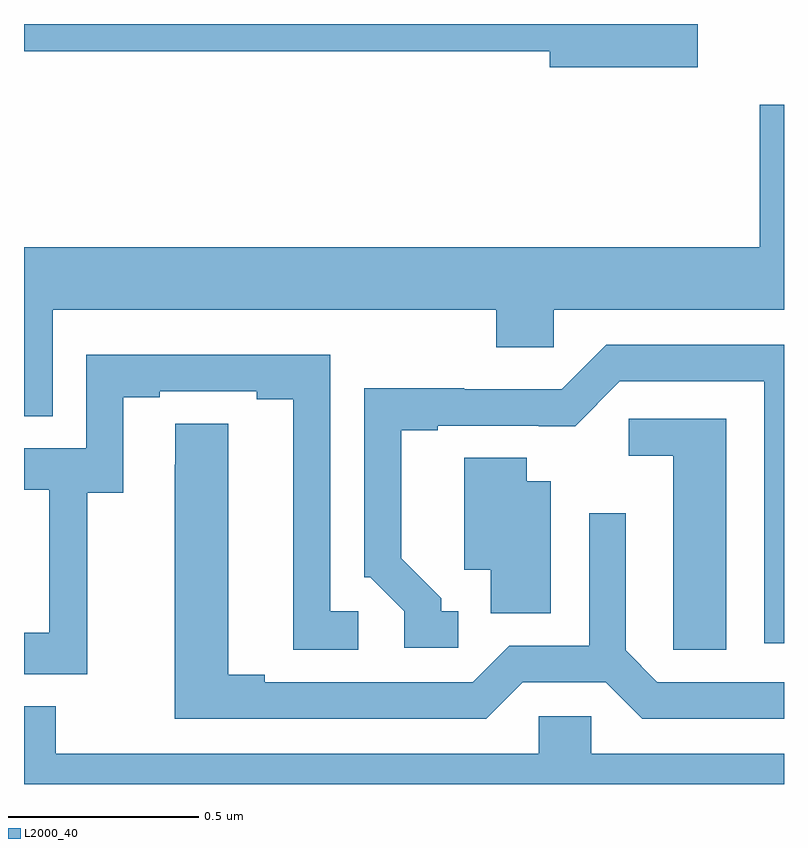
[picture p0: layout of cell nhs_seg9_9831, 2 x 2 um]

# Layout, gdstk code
import gdstk
lib = gdstk.Library(unit=1e-6, precision=1e-09)
def P(c, l, *ps):  # polygons
    for p in ps: c.add(gdstk.Polygon(p, *l))
L2000_40 = (2000, 40)

nhs_seg9_9831 = lib.new_cell('nhs_seg9_9831')
P(nhs_seg9_9831, L2000_40, [(236.773,1202.5),(235,1202.5),(235,1202.428),(236.384,1202.428),(236.384,1202.386),(236.773,1202.386)],
  [(235.075,1201.748),(236.243,1201.748),(236.243,1201.65),(236.394,1201.65),(236.394,1201.748),(237,1201.748),(237,1202.287),(236.936,1202.287),(236.936,1201.912),(235,1201.912),(235,1201.468),(235.075,1201.468)],
  [(236.143,1200.954),(236.098,1200.954),(236.098,1200.989),(235.993,1201.094),(235.993,1201.431),(236.089,1201.431),(236.089,1201.443),(236.354,1201.443),(236.354,1201.442),(236.45,1201.442),(236.568,1201.56),(236.948,1201.56),(236.948,1200.87),(237,1200.87),(237,1201.656),(236.532,1201.656),(236.415,1201.539),(236.159,1201.539),(236.159,1201.541),(235.896,1201.541),(235.896,1201.044),(235.911,1201.044),(236.001,1200.954),(236.001,1200.858),(236.143,1200.858)],
  [(235.167,1201.267),(235.261,1201.267),(235.261,1201.518),(235.357,1201.518),(235.357,1201.533),(235.613,1201.533),(235.613,1201.513),(235.709,1201.513),(235.709,1200.853),(235.879,1200.853),(235.879,1200.954),(235.806,1200.954),(235.806,1201.629),(235.164,1201.629),(235.164,1201.383),(235,1201.383),(235,1201.275),(235.067,1201.275),(235.067,1200.898),(235,1200.898),(235,1200.789),(235.167,1200.789)],
  [(236.848,1201.461),(236.592,1201.461),(236.592,1201.364),(236.708,1201.364),(236.708,1200.961),(236.709,1200.961),(236.709,1200.853),(236.848,1200.853)],
  [(236.313,1200.768),(236.531,1200.768),(236.627,1200.672),(237,1200.672),(237,1200.768),(236.667,1200.768),(236.583,1200.852),(236.583,1201.213),(236.487,1201.213),(236.487,1200.864),(236.277,1200.864),(236.181,1200.768),(235.633,1200.768),(235.633,1200.788),(235.537,1200.788),(235.537,1201.448),(235.398,1201.448),(235.398,1201.34),(235.397,1201.34),(235.397,1200.672),(236.217,1200.672)],
  [(236.386,1201.297),(236.323,1201.297),(236.323,1201.358),(236.159,1201.358),(236.159,1201.064),(236.228,1201.064),(236.228,1200.949),(236.386,1200.949)],
  [(237,1200.58),(236.493,1200.58),(236.493,1200.678),(236.355,1200.678),(236.355,1200.58),(235.083,1200.58),(235.083,1200.704),(235,1200.704),(235,1200.5),(237,1200.5)])

lib.write_gds('nhs_seg9_9831.gds')
